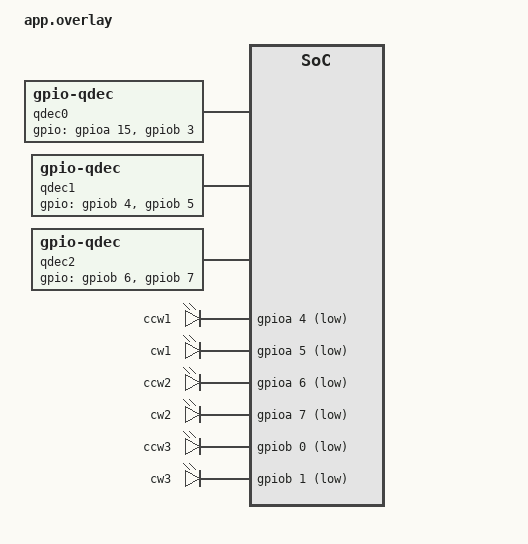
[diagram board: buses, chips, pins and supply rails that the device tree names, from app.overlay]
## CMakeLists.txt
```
cmake_minimum_required(VERSION 3.20.0)

list(APPEND BOARD_ROOT ${CMAKE_CURRENT_SOURCE_DIR})

find_package(Zephyr REQUIRED HINTS $ENV{ZEPHYR_BASE})
project(encoder_bridge)

target_sources(app PRIVATE src/main.c)
```

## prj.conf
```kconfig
CONFIG_INPUT=y
CONFIG_INPUT_MODE_SYNCHRONOUS=y
CONFIG_GPIO=y
CONFIG_INPUT_GPIO_QDEC=y

CONFIG_SYS_CLOCK_TICKS_PER_SEC=1000

CONFIG_SERIAL=y
CONFIG_UART_INTERRUPT_DRIVEN=y
CONFIG_CONSOLE=y
# Use RTT for console output over SWD
CONFIG_USE_SEGGER_RTT=y
CONFIG_RTT_CONSOLE=y
CONFIG_UART_CONSOLE=n

CONFIG_PRINTK=y

CONFIG_MAIN_STACK_SIZE=384
CONFIG_IDLE_STACK_SIZE=128
CONFIG_ISR_STACK_SIZE=384
CONFIG_SYSTEM_WORKQUEUE_STACK_SIZE=384

CONFIG_SIZE_OPTIMIZATIONS=y

CONFIG_CBPRINTF_NANO=y

CONFIG_SEGGER_RTT_BUFFER_SIZE_UP=256
```

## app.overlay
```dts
#include <zephyr/dt-bindings/input/input-event-codes.h>

/ {
	qdec0: qdec0 {
		compatible = "gpio-qdec";
		gpios = <&gpioa 15 (GPIO_PULL_UP | GPIO_ACTIVE_HIGH)>,
			<&gpiob 3 (GPIO_PULL_UP | GPIO_ACTIVE_HIGH)>;
		steps-per-period = <4>;
		zephyr,axis = <INPUT_REL_WHEEL>;
		sample-time-us = <2000>;
		idle-timeout-ms = <200>;
	};

	qdec1: qdec1 {
		compatible = "gpio-qdec";
		gpios = <&gpiob 4 (GPIO_PULL_UP | GPIO_ACTIVE_HIGH)>,
			<&gpiob 5 (GPIO_PULL_UP | GPIO_ACTIVE_HIGH)>;
		steps-per-period = <4>;
		zephyr,axis = <INPUT_REL_HWHEEL>;
		sample-time-us = <2000>;
		idle-timeout-ms = <200>;
	};

	qdec2: qdec2 {
		compatible = "gpio-qdec";
		gpios = <&gpiob 6 (GPIO_PULL_UP | GPIO_ACTIVE_HIGH)>,
			<&gpiob 7 (GPIO_PULL_UP | GPIO_ACTIVE_HIGH)>;
		steps-per-period = <4>;
		zephyr,axis = <INPUT_REL_DIAL>;
		sample-time-us = <2000>;
		idle-timeout-ms = <200>;
	};

	dir_outputs: dir_outputs {
		compatible = "gpio-leds";

		ccw1: ccw_1 {
			gpios = <&gpioa 4 GPIO_ACTIVE_LOW>;
		};
		cw1: cw_1 {
			gpios = <&gpioa 5 GPIO_ACTIVE_LOW>;
		};
		ccw2: ccw_2 {
			gpios = <&gpioa 6 GPIO_ACTIVE_LOW>;
		};
		cw2: cw_2 {
			gpios = <&gpioa 7 GPIO_ACTIVE_LOW>;
		};
		ccw3: ccw_3 {
			gpios = <&gpiob 0 GPIO_ACTIVE_LOW>;
		};
		cw3: cw_3 {
			gpios = <&gpiob 1 GPIO_ACTIVE_LOW>;
		};
	};

	aliases {
		encoder-0 = &qdec0;
		encoder-1 = &qdec1;
		encoder-2 = &qdec2;
		ccw-1 = &ccw1;
		cw-1 = &cw1;
		ccw-2 = &ccw2;
		cw-2 = &cw2;
		ccw-3 = &ccw3;
		cw-3 = &cw3;
	};
};
```

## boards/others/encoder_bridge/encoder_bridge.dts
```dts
/dts-v1/;
#include <st/f0/stm32f030X6.dtsi>
#include <st/f0/stm32f030k6tx-pinctrl.dtsi>

/ {
	model = "Encoder Bridge Board";
	compatible = "st,stm32f030k6t";

	chosen {
		zephyr,console = &usart1;
		zephyr,shell-uart = &usart1;
		zephyr,sram = &sram0;
		zephyr,flash = &flash0;
	};
};

&clk_hse {
	clock-frequency = <DT_FREQ_M(8)>;
	status = "okay";
};

&pll {
	prediv = <1>;
	mul = <6>;
	clocks = <&clk_hse>;
	status = "okay";
};

&rcc {
	clocks = <&pll>;
	clock-frequency = <DT_FREQ_M(48)>;
	ahb-prescaler = <1>;
	apb1-prescaler = <1>;
};

&gpioa {
	status = "okay";
};

&gpiob {
	status = "okay";
};

&gpiof {
	status = "okay";
};

&usart1 {
	pinctrl-0 = <&usart1_tx_pa9 &usart1_rx_pa10>;
	pinctrl-names = "default";
	current-speed = <115200>;
	status = "okay";
};
```

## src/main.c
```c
#include <zephyr/kernel.h>
#include <zephyr/device.h>
#include <zephyr/drivers/gpio.h>
#include <zephyr/drivers/uart.h>
#include <zephyr/input/input.h>
#include <string.h>

#define TRIGGER_MS      500
#define IDLE_TIMEOUT_S  5
#define NUM_ENCODERS    3
#define CMD_BUF_SIZE    24

static const struct gpio_dt_spec ccw_gpios[NUM_ENCODERS] = {
	GPIO_DT_SPEC_GET(DT_ALIAS(ccw_1), gpios),
	GPIO_DT_SPEC_GET(DT_ALIAS(ccw_2), gpios),
	GPIO_DT_SPEC_GET(DT_ALIAS(ccw_3), gpios),
};

static const struct gpio_dt_spec cw_gpios[NUM_ENCODERS] = {
	GPIO_DT_SPEC_GET(DT_ALIAS(cw_1), gpios),
	GPIO_DT_SPEC_GET(DT_ALIAS(cw_2), gpios),
	GPIO_DT_SPEC_GET(DT_ALIAS(cw_3), gpios),
};

#define TRIGGER_NODE DT_NODELABEL(gpioa)
static const struct gpio_dt_spec trigger_gpio = {
	.port = DEVICE_DT_GET(TRIGGER_NODE),
	.pin = 11,
	.dt_flags = GPIO_ACTIVE_HIGH,
};

static const struct device *const qdec_devs[NUM_ENCODERS] = {
	DEVICE_DT_GET(DT_ALIAS(encoder_0)),
	DEVICE_DT_GET(DT_ALIAS(encoder_1)),
	DEVICE_DT_GET(DT_ALIAS(encoder_2)),
};

static uint32_t cw_counts[NUM_ENCODERS];
static uint32_t ccw_counts[NUM_ENCODERS];
static uint32_t last_event_time;
static volatile bool sleeping;

/*
 * Pending encoder event written by the ISR (input_cb) and consumed by
 * encoder_work_handler.  Mirrors the ZMK ec11 pattern where the ISR only
 * captures state and posts work; all GPIO configuration happens in the
 * workqueue context where gpio_pin_configure_dt() is safe to call.
 */
static struct {
	int  idx;
	int8_t dir; /* +1 = CW, -1 = CCW */
} pending_enc;

/* ZMK-style: ISR posts, workqueue processes (cf. ec11_work_cb / ec11_thread_cb) */
static struct k_work encoder_work;
static struct k_work_delayable trigger_off_work;
static struct k_timer idle_timer;
static struct gpio_callback trigger_cb_data;
static struct k_sem idle_sem;

static const struct device *const uart_dev = DEVICE_DT_GET(DT_NODELABEL(usart1));
static char cmd_buf[CMD_BUF_SIZE];
static uint8_t cmd_pos;

static void clear_direction_outputs(void)
{
	for (int i = 0; i < NUM_ENCODERS; i++) {
		gpio_pin_set_dt(&cw_gpios[i], 0);
		gpio_pin_set_dt(&ccw_gpios[i], 0);
	}
}

/*
 * Runs in workqueue context (delayable work) — safe to reconfigure the trigger
 * pin and re-arm the GPIO interrupt.
 */
static void trigger_off_handler(struct k_work *work)
{
	clear_direction_outputs();
	gpio_pin_configure_dt(&trigger_gpio, GPIO_OUTPUT_INACTIVE);
	gpio_pin_set_dt(&trigger_gpio, 0);
	gpio_pin_configure_dt(&trigger_gpio, GPIO_INPUT);
	gpio_pin_interrupt_configure_dt(&trigger_gpio, GPIO_INT_EDGE_RISING);
}

static void set_direction(const struct gpio_dt_spec *active,
			  const struct gpio_dt_spec *inactive)
{
	gpio_pin_set_dt(inactive, 0);
	gpio_pin_set_dt(active, 1);
}

/*
 * encoder_work_handler — ZMK equivalent of ec11_thread_cb / ec11_work_cb.
 *
 * All GPIO configuration (gpio_pin_configure_dt) must happen here rather than
 * in the ISR, because gpio_pin_configure_dt is not guaranteed to be ISR-safe
 * on STM32 (it manipulates MODER/OTYPER/PUPDR registers).
 *
 * Pattern mirrored from ZMK ec11_trigger.c:
 *   ISR  → setup_int(false) + k_work_submit(&drv_data->work)
 *   work → handler(dev, trigger) + setup_int(true)
 */
static void encoder_work_handler(struct k_work *work)
{
	int idx = pending_enc.idx;
	int8_t dir = pending_enc.dir;

	/* Set direction outputs (gpio_pin_set_dt is ISR-safe, but doing it
	 * here keeps all GPIO operations together and avoids tearing between
	 * direction and trigger when events arrive back-to-back). */
	if (dir > 0) {
		set_direction(&cw_gpios[idx], &ccw_gpios[idx]);
	} else {
		set_direction(&ccw_gpios[idx], &cw_gpios[idx]);
	}

	/* Assert trigger.  gpio_pin_configure_dt is safe here (workqueue). */
	gpio_pin_configure_dt(&trigger_gpio, GPIO_OUTPUT_ACTIVE);
	gpio_pin_set_dt(&trigger_gpio, 1);
	k_work_reschedule(&trigger_off_work, K_MSEC(TRIGGER_MS));
}

static int encoder_index(const struct device *dev)
{
	for (int i = 0; i < NUM_ENCODERS; i++) {
		if (dev == qdec_devs[i]) {
			return i;
		}
	}
	return -1;
}

/*
 * input_cb — ZMK equivalent of ec11_a_gpio_callback / ec11_b_gpio_callback.
 *
 * With CONFIG_INPUT_MODE_SYNCHRONOUS=y this runs in ISR context, so it must
 * stay minimal: record the event, update counters/timers, then post work.
 * No gpio_pin_configure_dt calls here.
 */
static void input_cb(struct input_event *evt, void *user_data)
{
	if (evt->type != INPUT_EV_REL) {
		return;
	}

	int idx = encoder_index(evt->dev);
	if (idx < 0) {
		return;
	}

	last_event_time = k_uptime_get_32();
	k_timer_start(&idle_timer, K_SECONDS(IDLE_TIMEOUT_S), K_NO_WAIT);

	if (evt->value > 0) {
		cw_counts[idx]++;
		printk("Enc %d: CW t=%u\n", idx, last_event_time);
		pending_enc.idx = idx;
		pending_enc.dir = 1;
	} else if (evt->value < 0) {
		ccw_counts[idx]++;
		printk("Enc %d: CCW t=%u\n", idx, last_event_time);
		pending_enc.idx = idx;
		pending_enc.dir = -1;
	} else {
		return;
	}

	/* Like ZMK's k_work_submit(&drv_data->work) in ec11_a_gpio_callback */
	k_work_submit(&encoder_work);
}

INPUT_CALLBACK_DEFINE(NULL, input_cb, NULL);

static void idle_timer_expiry(struct k_timer *timer)
{
	printk("Idle, sleep t=%u\n", k_uptime_get_32());
	sleeping = true;
	k_sem_give(&idle_sem);
}

/*
 * trigger_isr — called when the external device drives the trigger pin HIGH
 * (used as a wake signal).  This is a real ISR so it must only perform
 * ISR-safe operations: read flags, start timers, give semaphores.
 *
 * Do NOT call gpio_pin_configure_dt from here.  The original code called
 * signal_trigger() which reconfigured the pin as an output — unsafe in ISR
 * and would also fight the external device driving the same wire.
 */
static void trigger_isr(const struct device *dev, struct gpio_callback *cb,
			 uint32_t pins)
{
	if (sleeping) {
		sleeping = false;
		printk("Wake t=%u\n", k_uptime_get_32());
	}
	k_timer_start(&idle_timer, K_SECONDS(IDLE_TIMEOUT_S), K_NO_WAIT);
}

static void process_cmd(const char *cmd)
{
	if (strcmp(cmd, "enc stat") == 0) {
		for (int i = 0; i < NUM_ENCODERS; i++) {
			printk("Enc %d: CW=%u CCW=%u\n", i,
			       cw_counts[i], ccw_counts[i]);
		}
	} else if (strcmp(cmd, "enc reset") == 0) {
		memset(cw_counts, 0, sizeof(cw_counts));
		memset(ccw_counts, 0, sizeof(ccw_counts));
		printk("Counters reset\n");
	} else if (strcmp(cmd, "pwr sleep") == 0) {
		printk("Forcing sleep...\n");
		sleeping = true;
		k_sem_give(&idle_sem);
	} else if (strcmp(cmd, "pwr status") == 0) {
		uint32_t now = k_uptime_get_32();
		uint32_t idle = last_event_time ? (now - last_event_time) : now;
		printk("Up: %u ms\nLast: %u ms\nIdle: %u ms\n",
		       now, last_event_time, idle);
	} else if (cmd[0] != '\0') {
		printk("? %s\n", cmd);
	}
}

static void uart_isr(const struct device *dev, void *user_data)
{
	uint8_t c;

	if (!uart_irq_update(dev) || !uart_irq_rx_ready(dev)) {
		return;
	}

	while (uart_fifo_read(dev, &c, 1) == 1) {
		if (c == '\r' || c == '\n') {
			if (cmd_pos > 0) {
				cmd_buf[cmd_pos] = '\0';
				process_cmd(cmd_buf);
				cmd_pos = 0;
			}
		} else if (cmd_pos < CMD_BUF_SIZE - 1) {
			cmd_buf[cmd_pos++] = c;
		}
	}
}

static int init_gpios(void)
{
	int ret;

	for (int i = 0; i < NUM_ENCODERS; i++) {
		if (!gpio_is_ready_dt(&ccw_gpios[i]) ||
		    !gpio_is_ready_dt(&cw_gpios[i])) {
			printk("GPIO %d not ready\n", i);
			return -ENODEV;
		}
		ret = gpio_pin_configure_dt(&ccw_gpios[i], GPIO_OUTPUT_INACTIVE);
		if (ret) {
			printk("CCW %d configure failed: %d\n", i, ret);
			return ret;
		}
		ret = gpio_pin_configure_dt(&cw_gpios[i], GPIO_OUTPUT_INACTIVE);
		if (ret) {
			printk("CW %d configure failed: %d\n", i, ret);
			return ret;
		}
	}

	if (!gpio_is_ready_dt(&trigger_gpio)) {
		return -ENODEV;
	}
	gpio_pin_configure_dt(&trigger_gpio, GPIO_INPUT);
	gpio_pin_interrupt_configure_dt(&trigger_gpio, GPIO_INT_EDGE_RISING);
	gpio_init_callback(&trigger_cb_data, trigger_isr, BIT(trigger_gpio.pin));
	gpio_add_callback(trigger_gpio.port, &trigger_cb_data);

	return 0;
}

int main(void)
{
	printk("Encoder Bridge starting\n");

	k_sem_init(&idle_sem, 0, 1);

	if (init_gpios()) {
		printk("GPIO init failed\n");
		return -1;
	}

	/* ZMK-style work init (cf. k_work_init(&drv_data->work, ec11_work_cb)) */
	k_work_init(&encoder_work, encoder_work_handler);
	k_work_init_delayable(&trigger_off_work, trigger_off_handler);
	k_timer_init(&idle_timer, idle_timer_expiry, NULL);
	k_timer_start(&idle_timer, K_SECONDS(IDLE_TIMEOUT_S), K_NO_WAIT);

	uart_irq_callback_set(uart_dev, uart_isr);
	uart_irq_rx_enable(uart_dev);

	printk("Encoder Bridge ready\n");

	while (1) {
		k_sem_take(&idle_sem, K_FOREVER);
		if (sleeping) {
			printk("Entering sleep t=%u\n", k_uptime_get_32());
			k_sleep(K_FOREVER);
			sleeping = false;
			printk("Woke t=%u\n", k_uptime_get_32());
			k_timer_start(&idle_timer, K_SECONDS(IDLE_TIMEOUT_S), K_NO_WAIT);
		}
	}

	return 0;
}
```
